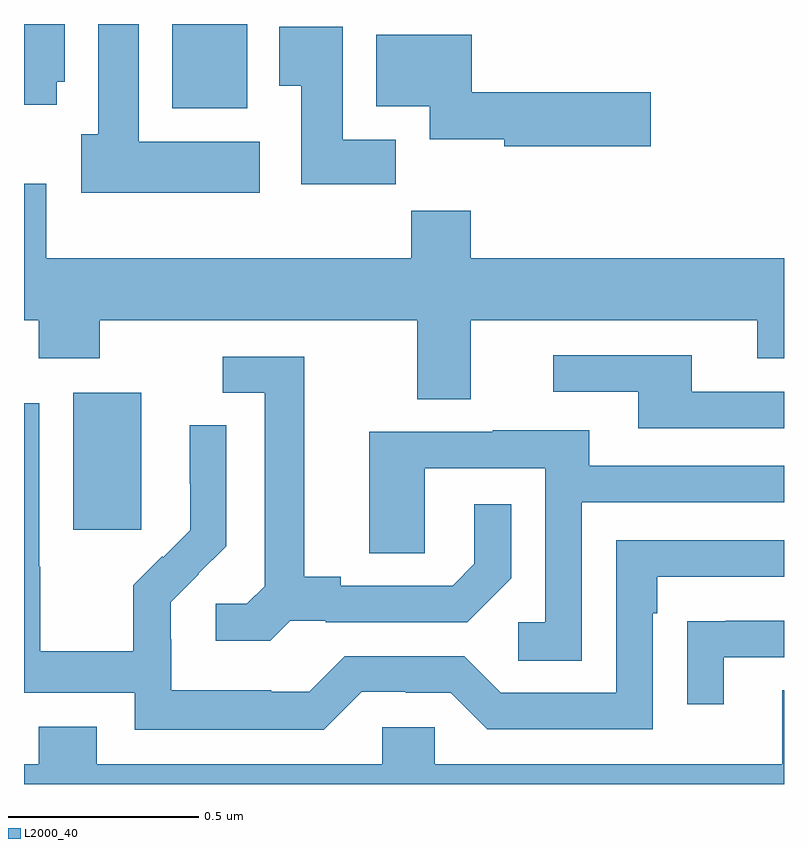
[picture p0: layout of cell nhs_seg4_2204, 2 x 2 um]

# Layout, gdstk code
import gdstk
lib = gdstk.Library(unit=1e-6, precision=1e-09)
def R(c, l, rs):  # rectangles x0, y0, x1, y1
    for r in rs: c.add(gdstk.rectangle(r[:2], r[2:], *l))
def P(c, l, *ps):  # polygons
    for p in ps: c.add(gdstk.Polygon(p, *l))
L2000_40 = (2000, 40)

nhs_seg4_2204 = lib.new_cell('nhs_seg4_2204')
R(nhs_seg4_2204, L2000_40, [(137.129,829.569,137.308,829.93), (137.39,830.678,137.587,830.9)])
P(nhs_seg4_2204, L2000_40, [(137.62,830.59),(137.302,830.59),(137.302,830.9),(137.195,830.9),(137.195,830.61),(137.15,830.61),(137.15,830.456),(137.62,830.456)],
  [(137.086,830.748),(137.107,830.748),(137.107,830.9),(137,830.9),(137,830.688),(137.086,830.688)],
  [(137.978,830.596),(137.839,830.596),(137.839,830.893),(137.672,830.893),(137.672,830.737),(137.729,830.737),(137.729,830.478),(137.978,830.478)],
  [(138.649,830.72),(138.178,830.72),(138.178,830.872),(137.927,830.872),(137.927,830.684),(138.068,830.684),(138.068,830.597),(138.264,830.597),(138.264,830.578),(138.649,830.578)],
  [(138.175,830.12),(138.929,830.12),(138.929,830.021),(139,830.021),(139,830.284),(138.176,830.284),(138.176,830.408),(138.019,830.408),(138.019,830.284),(137.059,830.284),(137.059,830.479),(137,830.479),(137,830.12),(137.039,830.12),(137.039,830.021),(137.199,830.021),(137.199,830.12),(138.035,830.12),(138.035,829.912),(138.175,829.912)],
  [(139,829.932),(138.757,829.932),(138.757,830.028),(138.393,830.028),(138.393,829.932),(138.617,829.932),(138.617,829.836),(139,829.836)],
  [(137.7,829.329),(137.794,829.329),(137.794,829.326),(138.166,829.326),(138.282,829.442),(138.282,829.636),(138.185,829.636),(138.185,829.479),(138.128,829.422),(137.833,829.422),(137.833,829.445),(137.737,829.445),(137.737,830.025),(137.523,830.025),(137.523,829.929),(137.633,829.929),(137.633,829.421),(137.586,829.374),(137.505,829.374),(137.505,829.277),(137.648,829.277)],
  [(137.889,829.143),(138.005,829.143),(138.005,829.14),(138.123,829.14),(138.219,829.044),(138.654,829.044),(138.654,829.349),(138.667,829.349),(138.667,829.446),(139,829.446),(139,829.542),(138.558,829.542),(138.558,829.14),(138.255,829.14),(138.159,829.236),(137.844,829.236),(137.751,829.143),(137.651,829.143),(137.651,829.147),(137.388,829.147),(137.388,829.281),(137.386,829.281),(137.386,829.378),(137.46,829.452),(137.459,829.453),(137.532,829.526),(137.532,829.844),(137.436,829.844),(137.436,829.69),(137.438,829.69),(137.438,829.568),(137.367,829.497),(137.364,829.5),(137.287,829.423),(137.287,829.249),(137.043,829.249),(137.043,829.472),(137.04,829.472),(137.04,829.902),(137,829.902),(137,829.14),(137.292,829.14),(137.292,829.043),(137.789,829.043)],
  [(138.468,829.641),(139,829.641),(139,829.737),(138.487,829.737),(138.487,829.831),(138.233,829.831),(138.233,829.827),(137.909,829.827),(137.909,829.507),(138.054,829.507),(138.054,829.731),(138.372,829.731),(138.372,829.326),(138.3,829.326),(138.3,829.225),(138.468,829.225)],
  [(138.841,829.233),(139,829.233),(139,829.329),(138.847,829.329),(138.847,829.328),(138.745,829.328),(138.745,829.11),(138.841,829.11)],
  [(139,829.147),(138.995,829.147),(138.995,828.952),(138.081,828.952),(138.081,829.05),(137.943,829.05),(137.943,828.952),(137.191,828.952),(137.191,829.051),(137.039,829.051),(137.039,828.952),(137,828.952),(137,828.9),(139,828.9)])

lib.write_gds('nhs_seg4_2204.gds')
